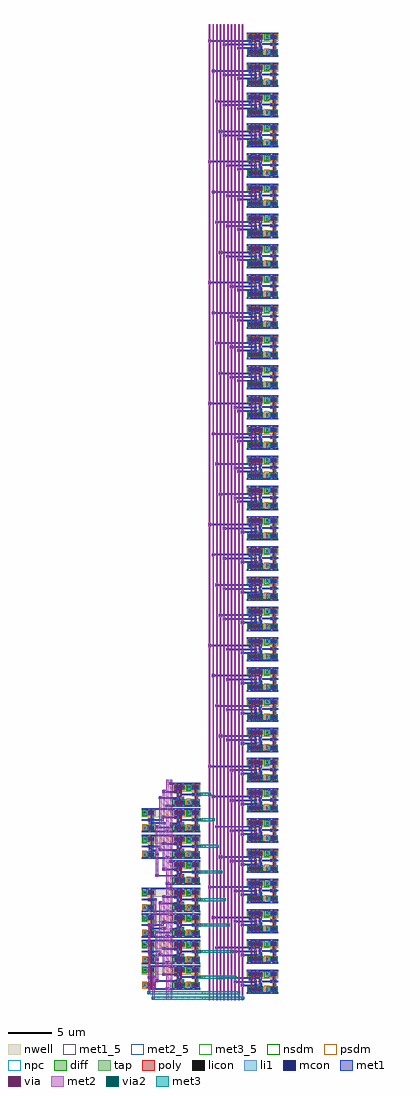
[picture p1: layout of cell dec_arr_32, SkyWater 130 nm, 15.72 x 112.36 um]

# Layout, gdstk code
import gdstk
lib = gdstk.Library(unit=1e-6, precision=5e-09)
def R(c, l, rs):  # rectangles x0, y0, x1, y1
    for r in rs: c.add(gdstk.rectangle(r[:2], r[2:], *l))
def A(c, l, x, y, w, h, nx, ny, dx, dy):  # array of equal rectangles
    R(c, l, [(x+i*dx, y+j*dy, x+i*dx+w, y+j*dy+h) for i in range(nx) for j in range(ny)])
nwell = (64, 20)
diff = (65, 20)
tap = (65, 44)
poly = (66, 20)
licon = (66, 44)
li1 = (67, 20)
mcon = (67, 44)
met1_5 = (68, 5)
met1 = (68, 20)
via = (68, 44)
met2_5 = (69, 5)
met2 = (69, 20)
via2 = (69, 44)
met3_5 = (70, 5)
met3 = (70, 20)
nsdm = (93, 44)
psdm = (94, 20)
npc = (95, 20)

nand3_f = lib.new_cell('nand3_f')
R(nand3_f, nwell, [(0,2.44,1.97,3.48)])
R(nand3_f, diff, [(0.18,1.005,1.79,1.425), (0.18,2.75,1.79,3.17)])
R(nand3_f, poly, [(0.47,0.875,0.62,2.265), (0.91,0.875,1.06,1.91), (1.35,0.875,1.5,1.535), (1.35,1.535,1.75,1.865), (1.35,1.865,1.5,3.3), (0.85,1.91,1.12,2.24), (0.91,2.24,1.06,3.3), (0.22,2.265,0.62,2.595), (0.47,2.595,0.62,3.3)])
A(nand3_f, licon, 0.24, 1.13, 0.17, 0.17, 4, 2, 0.44, 1.745)
R(nand3_f, licon, [(1.5,1.615,1.67,1.785), (0.9,1.99,1.07,2.16), (0.3,2.345,0.47,2.515)])
A(nand3_f, li1, 0.24, 0.985, 0.17, 0.46, 4, 2, 0.44, 1.745)
R(nand3_f, li1, [(0.82,1.615,1.75,1.785), (0.82,1.99,1.15,2.16), (0.22,2.345,0.55,2.515)])
A(nand3_f, mcon, 0.24, 1.13, 0.17, 0.17, 4, 2, 0.44, 1.745)
R(nand3_f, mcon, [(0.9,1.615,1.07,1.785), (0.9,1.99,1.07,2.16), (0.3,2.345,0.47,2.515)])
R(nand3_f, met1_5, [(0,0.69,0.17,0.86), (0,1.585,0.17,1.755), (0,1.99,0.17,2.16), (1.8,2.05,1.97,2.22), (0,2.44,0.17,2.61), (0,3.31,0.17,3.48)])
A(nand3_f, met1, 0.21, 1.005, 0.23, 0.42, 4, 2, 0.44, 1.745)
R(nand3_f, met1, [(0,0.69,1.97,0.86), (0.24,0.86,0.41,1.005), (1.56,1.425,1.73,2.05), (0,1.585,1.13,1.755), (0.84,1.755,1.13,1.815), (0.84,1.96,1.13,1.99), (0,1.99,1.13,2.16), (1.56,2.05,1.97,2.22), (0.84,2.16,1.13,2.19), (1.56,2.22,1.73,2.44), (0.24,2.315,0.53,2.44), (0,2.44,0.53,2.61), (0.68,2.44,1.73,2.61), (0.68,2.61,0.85,2.75), (1.56,2.61,1.73,2.75), (0.24,3.17,0.41,3.31), (1.12,3.17,1.29,3.31), (0,3.31,1.97,3.48)])
R(nand3_f, nsdm, [(0.055,0.88,1.915,1.55)])
R(nand3_f, psdm, [(0.055,2.625,1.915,3.295)])
R(nand3_f, npc, [(1.4,1.515,1.77,1.615), (1.15,1.615,1.77,1.885), (1.15,1.885,1.42,1.89), (0.8,1.89,1.42,2.115), (0.34,2.115,1.42,2.16), (0.34,2.16,1.17,2.245), (0.2,2.245,1.17,2.26), (0.2,2.26,1.03,2.39), (0.2,2.39,0.57,2.615)])
nand3_f.add(gdstk.Label('VDD', (0.085,3.395), layer=68, texttype=5))
nand3_f.add(gdstk.Label('VSS', (0.085,0.775), layer=68, texttype=5))
nand3_f.add(gdstk.Label('Y', (1.885,2.135), layer=68, texttype=5))
nand3_f.add(gdstk.Label('C', (0.085,1.67), layer=68, texttype=5))
nand3_f.add(gdstk.Label('B', (0.085,2.075), layer=68, texttype=5))
nand3_f.add(gdstk.Label('A', (0.085,2.525), layer=68, texttype=5))

not_f = lib.new_cell('not_f')
R(not_f, nwell, [(0,2.44,1.65,3.48)])
R(not_f, diff, [(0.74,1.005,1.47,1.425), (0.74,2.75,1.47,3.17)])
R(not_f, tap, [(0.18,0.945,0.47,1.485), (0.18,2.69,0.47,3.23)])
R(not_f, poly, [(1.03,0.875,1.18,1.97), (0.725,1.97,1.18,2.3), (1.03,2.3,1.18,3.3)])
R(not_f, licon, [(0.24,1.13,0.41,1.3), (0.8,1.13,0.97,1.3), (1.24,1.13,1.41,1.3), (0.805,2.05,0.975,2.22), (0.24,2.875,0.41,3.045), (0.8,2.875,0.97,3.045), (1.24,2.875,1.41,3.045)])
R(not_f, li1, [(0.24,0.985,0.97,1.445), (1.24,0.985,1.41,3.19), (0.725,2.05,1.055,2.22), (0.18,2.73,0.97,3.19)])
R(not_f, mcon, [(0.8,1.13,0.97,1.3), (1.24,1.13,1.41,1.3), (0.805,2.05,0.975,2.22), (1.24,2.05,1.41,2.22), (0.8,2.875,0.97,3.045), (1.24,2.875,1.41,3.045)])
R(not_f, met1_5, [(0,0.69,0.17,0.86), (0,2.05,0.17,2.22), (1.48,2.05,1.65,2.22), (0,3.31,0.17,3.48)])
R(not_f, met1, [(0,0.69,1.65,0.86), (0.8,0.86,0.97,1.005), (0.77,1.005,1,1.425), (1.21,1.005,1.44,1.425), (0.745,2.02,1.035,2.05), (1.18,2.02,1.47,2.05), (0,2.05,1.035,2.22), (1.18,2.05,1.65,2.22), (0.745,2.22,1.035,2.25), (1.18,2.22,1.47,2.25), (0.77,2.75,1,3.17), (1.21,2.75,1.44,3.17), (0.8,3.17,0.97,3.31), (0,3.31,1.65,3.48)])
R(not_f, nsdm, [(0.615,0.88,1.595,1.55), (0.055,2.565,0.595,3.355)])
R(not_f, psdm, [(0.055,0.82,0.595,1.61), (0.615,2.625,1.595,3.295)])
R(not_f, npc, [(0.705,1.95,1.075,2.32)])
not_f.add(gdstk.Label('B', (1.565,2.135), layer=68, texttype=5))
not_f.add(gdstk.Label('VDD', (0.085,3.395), layer=68, texttype=5))
not_f.add(gdstk.Label('A', (0.085,2.135), layer=68, texttype=5))
not_f.add(gdstk.Label('VSS', (0.085,0.775), layer=68, texttype=5))

dec_3to6_f = lib.new_cell('dec_3to6_f')
R(dec_3to6_f, nwell, [(0,2.915,6.725,3.955), (0,5.865,6.725,6.905), (0,8.915,6.725,9.955), (0,11.845,6.725,12.885)])
R(dec_3to6_f, diff, [(0.74,1.48,1.47,1.9), (3.725,1.48,4.895,1.9), (5.815,1.48,6.545,1.9), (0.74,3.225,1.47,3.645), (3.725,3.225,4.895,3.645), (5.815,3.225,6.545,3.645), (0.74,4.43,1.47,4.85), (3.725,4.43,4.895,4.85), (5.815,4.43,6.545,4.85), (0.74,6.175,1.47,6.595), (3.725,6.175,4.895,6.595), (5.815,6.175,6.545,6.595), (0.74,7.48,1.47,7.9), (3.725,7.48,4.895,7.9), (5.815,7.48,6.545,7.9), (0.74,9.225,1.47,9.645), (3.725,9.225,4.895,9.645), (5.815,9.225,6.545,9.645), (0.74,10.41,1.47,10.83), (3.725,10.41,4.895,10.83), (5.815,10.41,6.545,10.83), (0.74,12.155,1.47,12.575), (3.725,12.155,4.895,12.575), (5.815,12.155,6.545,12.575)])
R(dec_3to6_f, tap, [(0.18,1.42,0.47,1.96), (5.255,1.42,5.545,1.96), (0.18,3.165,0.47,3.705), (5.255,3.165,5.545,3.705), (0.18,4.37,0.47,4.91), (5.255,4.37,5.545,4.91), (0.18,6.115,0.47,6.655), (5.255,6.115,5.545,6.655), (0.18,7.42,0.47,7.96), (5.255,7.42,5.545,7.96), (0.18,9.165,0.47,9.705), (5.255,9.165,5.545,9.705), (0.18,10.35,0.47,10.89), (5.255,10.35,5.545,10.89), (0.18,12.095,0.47,12.635), (5.255,12.095,5.545,12.635)])
R(dec_3to6_f, poly, [(1.03,1.35,1.18,2.445), (4.015,1.35,4.165,2.735), (4.455,1.35,4.605,2.01), (6.105,1.35,6.255,2.445), (4.455,2.01,4.855,2.34), (4.455,2.34,4.605,3.775), (0.725,2.445,1.18,2.775), (5.8,2.445,6.255,2.775), (3.765,2.735,4.165,3.065), (1.03,2.775,1.18,3.775), (6.105,2.775,6.255,3.775), (4.015,3.065,4.165,3.775), (1.03,4.3,1.18,5.395), (4.015,4.3,4.165,5.685), (4.455,4.3,4.605,4.96), (6.105,4.3,6.255,5.395), (4.455,4.96,4.855,5.29), (4.455,5.29,4.605,6.725), (0.725,5.395,1.18,5.725), (5.8,5.395,6.255,5.725), (3.765,5.685,4.165,6.015), (1.03,5.725,1.18,6.725), (6.105,5.725,6.255,6.725), (4.015,6.015,4.165,6.725), (1.03,7.35,1.18,8.445), (4.015,7.35,4.165,8.735), (4.455,7.35,4.605,8.01), (6.105,7.35,6.255,8.445), (4.455,8.01,4.855,8.34), (4.455,8.34,4.605,9.775), (0.725,8.445,1.18,8.775), (5.8,8.445,6.255,8.775), (3.765,8.735,4.165,9.065), (1.03,8.775,1.18,9.775), (6.105,8.775,6.255,9.775), (4.015,9.065,4.165,9.775), (1.03,10.28,1.18,11.375), (4.015,10.28,4.165,11.665), (4.455,10.28,4.605,10.94), (6.105,10.28,6.255,11.375), (4.455,10.94,4.855,11.27), (4.455,11.27,4.605,12.705), (0.725,11.375,1.18,11.705), (5.8,11.375,6.255,11.705), (3.765,11.665,4.165,11.995), (1.03,11.705,1.18,12.705), (6.105,11.705,6.255,12.705), (4.015,11.995,4.165,12.705)])
A(dec_3to6_f, licon, 3.785, 1.605, 0.17, 0.17, 3, 2, 0.44, 1.745)
A(dec_3to6_f, licon, 3.785, 4.555, 0.17, 0.17, 3, 2, 0.44, 1.745)
A(dec_3to6_f, licon, 3.785, 7.605, 0.17, 0.17, 3, 2, 0.44, 1.745)
A(dec_3to6_f, licon, 3.785, 10.535, 0.17, 0.17, 3, 2, 0.44, 1.745)
R(dec_3to6_f, licon, [(0.24,1.605,0.41,1.775), (0.8,1.605,0.97,1.775), (1.24,1.605,1.41,1.775), (5.315,1.605,5.485,1.775), (5.875,1.605,6.045,1.775), (6.315,1.605,6.485,1.775), (4.605,2.09,4.775,2.26), (0.805,2.525,0.975,2.695), (5.88,2.525,6.05,2.695), (3.845,2.815,4.015,2.985), (0.24,3.35,0.41,3.52), (0.8,3.35,0.97,3.52), (1.24,3.35,1.41,3.52), (5.315,3.35,5.485,3.52), (5.875,3.35,6.045,3.52), (6.315,3.35,6.485,3.52), (0.24,4.555,0.41,4.725), (0.8,4.555,0.97,4.725), (1.24,4.555,1.41,4.725), (5.315,4.555,5.485,4.725), (5.875,4.555,6.045,4.725), (6.315,4.555,6.485,4.725), (4.605,5.04,4.775,5.21), (0.805,5.475,0.975,5.645), (5.88,5.475,6.05,5.645), (3.845,5.765,4.015,5.935), (0.24,6.3,0.41,6.47), (0.8,6.3,0.97,6.47), (1.24,6.3,1.41,6.47), (5.315,6.3,5.485,6.47), (5.875,6.3,6.045,6.47), (6.315,6.3,6.485,6.47), (0.24,7.605,0.41,7.775), (0.8,7.605,0.97,7.775), (1.24,7.605,1.41,7.775), (5.315,7.605,5.485,7.775), (5.875,7.605,6.045,7.775), (6.315,7.605,6.485,7.775), (4.605,8.09,4.775,8.26), (0.805,8.525,0.975,8.695), (5.88,8.525,6.05,8.695), (3.845,8.815,4.015,8.985), (0.24,9.35,0.41,9.52), (0.8,9.35,0.97,9.52), (1.24,9.35,1.41,9.52), (5.315,9.35,5.485,9.52), (5.875,9.35,6.045,9.52), (6.315,9.35,6.485,9.52), (0.24,10.535,0.41,10.705), (0.8,10.535,0.97,10.705), (1.24,10.535,1.41,10.705), (5.315,10.535,5.485,10.705), (5.875,10.535,6.045,10.705), (6.315,10.535,6.485,10.705), (4.605,11.02,4.775,11.19), (0.805,11.455,0.975,11.625), (5.88,11.455,6.05,11.625), (3.845,11.745,4.015,11.915), (0.24,12.28,0.41,12.45), (0.8,12.28,0.97,12.45), (1.24,12.28,1.41,12.45), (5.315,12.28,5.485,12.45), (5.875,12.28,6.045,12.45), (6.315,12.28,6.485,12.45)])
A(dec_3to6_f, li1, 3.785, 1.46, 0.17, 0.46, 3, 2, 0.44, 1.745)
A(dec_3to6_f, li1, 3.785, 4.41, 0.17, 0.46, 3, 2, 0.44, 1.745)
A(dec_3to6_f, li1, 3.785, 7.46, 0.17, 0.46, 3, 2, 0.44, 1.745)
A(dec_3to6_f, li1, 3.785, 10.39, 0.17, 0.46, 3, 2, 0.44, 1.745)
R(dec_3to6_f, li1, [(0.24,1.46,0.97,1.92), (1.24,1.46,1.41,3.665), (5.315,1.46,6.045,1.92), (6.315,1.46,6.485,3.665), (3.785,2.09,4.855,2.26), (0.725,2.525,1.055,2.695), (5.8,2.525,6.13,2.695), (3.765,2.815,4.095,2.985), (0.18,3.205,0.97,3.665), (5.255,3.205,6.045,3.665), (0.24,4.41,0.97,4.87), (1.24,4.41,1.41,6.615), (5.315,4.41,6.045,4.87), (6.315,4.41,6.485,6.615), (3.785,5.04,4.855,5.21), (0.725,5.475,1.055,5.645), (5.8,5.475,6.13,5.645), (3.765,5.765,4.095,5.935), (0.18,6.155,0.97,6.615), (5.255,6.155,6.045,6.615), (0.24,7.46,0.97,7.92), (1.24,7.46,1.41,9.665), (5.315,7.46,6.045,7.92), (6.315,7.46,6.485,9.665), (3.785,8.09,4.855,8.26), (0.725,8.525,1.055,8.695), (5.8,8.525,6.13,8.695), (3.765,8.815,4.095,8.985), (0.18,9.205,0.97,9.665), (5.255,9.205,6.045,9.665), (0.24,10.39,0.97,10.85), (1.24,10.39,1.41,12.595), (5.315,10.39,6.045,10.85), (6.315,10.39,6.485,12.595), (3.785,11.02,4.855,11.19), (0.725,11.455,1.055,11.625), (5.8,11.455,6.13,11.625), (3.765,11.745,4.095,11.915), (0.18,12.135,0.97,12.595), (5.255,12.135,6.045,12.595)])
A(dec_3to6_f, mcon, 3.785, 1.605, 0.17, 0.17, 3, 2, 0.44, 1.745)
A(dec_3to6_f, mcon, 3.785, 4.555, 0.17, 0.17, 3, 2, 0.44, 1.745)
A(dec_3to6_f, mcon, 3.785, 7.605, 0.17, 0.17, 3, 2, 0.44, 1.745)
A(dec_3to6_f, mcon, 3.785, 10.535, 0.17, 0.17, 3, 2, 0.44, 1.745)
R(dec_3to6_f, mcon, [(0.8,1.605,0.97,1.775), (1.24,1.605,1.41,1.775), (5.875,1.605,6.045,1.775), (6.315,1.605,6.485,1.775), (3.845,2.09,4.015,2.26), (0.805,2.525,0.975,2.695), (1.24,2.525,1.41,2.695), (5.88,2.525,6.05,2.695), (6.315,2.525,6.485,2.695), (3.845,2.815,4.015,2.985), (0.8,3.35,0.97,3.52), (1.24,3.35,1.41,3.52), (5.875,3.35,6.045,3.52), (6.315,3.35,6.485,3.52), (0.8,4.555,0.97,4.725), (1.24,4.555,1.41,4.725), (5.875,4.555,6.045,4.725), (6.315,4.555,6.485,4.725), (3.845,5.04,4.015,5.21), (0.805,5.475,0.975,5.645), (1.24,5.475,1.41,5.645), (5.88,5.475,6.05,5.645), (6.315,5.475,6.485,5.645), (3.845,5.765,4.015,5.935), (0.8,6.3,0.97,6.47), (1.24,6.3,1.41,6.47), (5.875,6.3,6.045,6.47), (6.315,6.3,6.485,6.47), (0.8,7.605,0.97,7.775), (1.24,7.605,1.41,7.775), (5.875,7.605,6.045,7.775), (6.315,7.605,6.485,7.775), (3.845,8.09,4.015,8.26), (0.805,8.525,0.975,8.695), (1.24,8.525,1.41,8.695), (5.88,8.525,6.05,8.695), (6.315,8.525,6.485,8.695), (3.845,8.815,4.015,8.985), (0.8,9.35,0.97,9.52), (1.24,9.35,1.41,9.52), (5.875,9.35,6.045,9.52), (6.315,9.35,6.485,9.52), (0.8,10.535,0.97,10.705), (1.24,10.535,1.41,10.705), (5.875,10.535,6.045,10.705), (6.315,10.535,6.485,10.705), (3.845,11.02,4.015,11.19), (0.805,11.455,0.975,11.625), (1.24,11.455,1.41,11.625), (5.88,11.455,6.05,11.625), (6.315,11.455,6.485,11.625), (3.845,11.745,4.015,11.915), (0.8,12.28,0.97,12.45), (1.24,12.28,1.41,12.45), (5.875,12.28,6.045,12.45), (6.315,12.28,6.485,12.45)])
R(dec_3to6_f, met1_5, [(0,5.475,0.17,5.645), (0,8.525,0.17,8.695), (0,11.455,0.17,11.625)])
A(dec_3to6_f, met1, 3.755, 1.48, 0.23, 0.42, 3, 2, 0.44, 1.745)
A(dec_3to6_f, met1, 3.755, 4.43, 0.23, 0.42, 3, 2, 0.44, 1.745)
A(dec_3to6_f, met1, 3.755, 7.48, 0.23, 0.42, 3, 2, 0.44, 1.745)
A(dec_3to6_f, met1, 3.755, 10.41, 0.23, 0.42, 3, 2, 0.44, 1.745)
R(dec_3to6_f, met1, [(0.8,1.165,6.725,1.335), (0.8,1.335,0.97,1.48), (2.785,1.335,3.145,1.425), (3.785,1.335,3.955,1.48), (4.665,1.335,4.835,1.48), (5.875,1.335,6.045,1.48), (0.77,1.48,1,1.9), (1.21,1.48,1.44,1.9), (5.845,1.48,6.075,1.9), (6.285,1.48,6.515,1.9), (4.225,1.9,4.395,2.525), (3.785,2.06,4.075,2.09), (1.58,2.09,4.075,2.26), (1.58,2.26,1.94,2.35), (3.785,2.26,4.075,2.29), (0.675,2.48,1.035,2.74), (6.495,2.48,6.855,2.495), (1.18,2.49,1.65,2.75), (5.82,2.495,6.11,2.525), (6.255,2.495,6.855,2.725), (4.225,2.525,6.11,2.695), (4.225,2.695,4.395,3.225), (5.82,2.695,6.11,2.725), (6.495,2.725,6.855,2.74), (3.785,2.785,4.075,2.815), (2.385,2.815,4.075,2.985), (2.385,2.985,2.745,3.075), (3.785,2.985,4.075,3.015), (0.77,3.225,1,3.645), (1.21,3.225,1.44,3.645), (5.845,3.225,6.075,3.645), (6.285,3.225,6.515,3.645), (0.8,3.645,0.97,3.785), (3.785,3.645,3.955,3.785), (4.665,3.645,4.835,3.785), (5.875,3.645,6.045,3.785), (3.185,3.695,3.545,3.785), (0.8,3.785,6.725,3.955), (0,4.115,6.725,4.285), (0.8,4.285,0.97,4.43), (2.785,4.285,3.145,4.425), (3.785,4.285,3.955,4.43), (4.665,4.285,4.835,4.43), (5.875,4.285,6.045,4.43), (0.77,4.43,1,4.85), (1.21,4.43,1.44,4.85), (5.845,4.43,6.075,4.85), (6.285,4.43,6.515,4.85), (1.585,4.525,1.945,4.785), (1.585,4.785,1.755,5), (4.225,4.85,4.395,5.475), (0.805,5,1.755,5.17), (3.785,5.01,4.075,5.04), (1.985,5.04,4.075,5.21), (0.805,5.17,0.975,5.445), (1.985,5.21,2.345,5.3), (3.785,5.21,4.075,5.24), (1.985,5.3,2.155,5.475), (6.495,5.43,6.855,5.445), (0.745,5.445,1.035,5.475), (1.18,5.445,1.47,5.475), (5.82,5.445,6.11,5.475), (6.255,5.445,6.855,5.675), (0,5.475,1.035,5.645), (1.18,5.475,2.155,5.645), (4.225,5.475,6.11,5.645), (0.745,5.645,1.035,5.675), (1.18,5.645,1.47,5.675), (4.225,5.645,4.395,6.175), (5.82,5.645,6.11,5.675), (6.495,5.675,6.855,5.69), (3.785,5.735,4.075,5.765), (2.385,5.765,4.075,5.935), (2.385,5.935,2.745,6.025), (3.785,5.935,4.075,5.965), (0.77,6.175,1,6.595), (1.21,6.175,1.44,6.595), (5.845,6.175,6.075,6.595), (6.285,6.175,6.515,6.595), (0.8,6.595,0.97,6.735), (3.785,6.595,3.955,6.735), (4.665,6.595,4.835,6.735), (5.875,6.595,6.045,6.735), (3.185,6.645,3.545,6.735), (0,6.735,6.725,6.905), (1.635,7.16,2.275,7.165), (0,7.165,6.725,7.335), (0.8,7.335,0.97,7.48), (2.785,7.335,3.145,7.475), (3.785,7.335,3.955,7.48), (4.665,7.335,4.835,7.48), (5.875,7.335,6.045,7.48), (0.77,7.48,1,7.9), (1.21,7.48,1.44,7.9), (5.845,7.48,6.075,7.9), (6.285,7.48,6.515,7.9), (1.585,7.665,3.405,7.835), (1.585,7.835,1.945,7.925), (3.235,7.835,3.405,8.09), (4.225,7.9,4.395,8.525), (3.785,8.06,4.075,8.09), (3.235,8.09,4.075,8.26), (2.385,8.095,2.745,8.14), (0.805,8.14,2.745,8.31), (3.785,8.26,4.075,8.29), (0.805,8.31,0.975,8.495), (2.385,8.31,2.745,8.355), (6.495,8.48,6.855,8.495), (0.745,8.495,1.035,8.525), (1.18,8.495,1.47,8.525), (5.82,8.495,6.11,8.525), (6.255,8.495,6.855,8.725), (0,8.525,1.035,8.695), (1.18,8.525,2.525,8.695), (4.225,8.525,6.11,8.695), (0.745,8.695,1.035,8.725), (1.18,8.695,1.47,8.725), (2.385,8.695,2.525,8.815), (4.225,8.695,4.395,9.225), (5.82,8.695,6.11,8.725), (6.495,8.725,6.855,8.74), (3.785,8.785,4.075,8.815), (2.385,8.815,4.075,8.985), (2.385,8.985,2.745,9.075), (3.785,8.985,4.075,9.015), (0.77,9.225,1,9.645), (1.21,9.225,1.44,9.645), (5.845,9.225,6.075,9.645), (6.285,9.225,6.515,9.645), (0.8,9.645,0.97,9.785), (3.785,9.645,3.955,9.785), (4.665,9.645,4.835,9.785), (5.875,9.645,6.045,9.785), (3.185,9.695,3.545,9.785), (0,9.785,6.725,9.955), (0,10.095,6.725,10.265), (0.8,10.265,0.97,10.41), (2.785,10.265,3.145,10.355), (3.785,10.265,3.955,10.41), (4.665,10.265,4.835,10.41), (5.875,10.265,6.045,10.41), (0.77,10.41,1,10.83), (1.21,10.41,1.44,10.83), (5.845,10.41,6.075,10.83), (6.285,10.41,6.515,10.83), (4.225,10.83,4.395,11.455), (3.785,10.99,4.075,11.02), (1.985,11.02,4.075,11.19), (1.985,11.19,2.345,11.28), (3.785,11.19,4.075,11.22), (1.36,11.41,1.72,11.425), (6.495,11.41,6.855,11.425), (0.745,11.425,1.035,11.455), (1.18,11.425,1.72,11.655), (5.82,11.425,6.11,11.455), (6.255,11.425,6.855,11.655), (0,11.455,1.035,11.625), (4.225,11.455,6.11,11.625), (0.745,11.625,1.035,11.655), (4.225,11.625,4.395,12.155), (5.82,11.625,6.11,11.655), (1.36,11.655,1.72,11.67), (6.495,11.655,6.855,11.67), (3.785,11.715,4.075,11.745), (2.385,11.745,4.075,11.915), (2.385,11.915,2.745,12.005), (3.785,11.915,4.075,11.945), (0.77,12.155,1,12.575), (1.21,12.155,1.44,12.575), (5.845,12.155,6.075,12.575), (6.285,12.155,6.515,12.575), (0.8,12.575,0.97,12.715), (3.785,12.575,3.955,12.715), (4.665,12.575,4.835,12.715), (5.875,12.575,6.045,12.715), (3.185,12.625,3.545,12.715), (0,12.715,6.725,12.885)])
R(dec_3to6_f, via, [(2.89,1.22,3.04,1.37), (1.685,2.145,1.835,2.295), (0.78,2.535,0.93,2.685), (6.6,2.535,6.75,2.685), (1.285,2.545,1.435,2.695), (2.49,2.87,2.64,3.02), (3.29,3.75,3.44,3.9), (2.89,4.22,3.04,4.37), (1.69,4.58,1.84,4.73), (2.09,5.095,2.24,5.245), (6.6,5.485,6.75,5.635), (2.49,5.82,2.64,5.97), (3.29,6.7,3.44,6.85), (2.89,7.27,3.04,7.42), (1.69,7.72,1.84,7.87), (2.49,8.15,2.64,8.3), (6.6,8.535,6.75,8.685), (2.49,8.87,2.64,9.02), (3.29,9.75,3.44,9.9), (2.89,10.15,3.04,10.3), (2.09,11.075,2.24,11.225), (1.465,11.465,1.615,11.615), (6.6,11.465,6.75,11.615), (2.49,11.8,2.64,11.95), (3.29,12.68,3.44,12.83)])
R(dec_3to6_f, met2_5, [(2.835,12.965,3.095,13.225), (3.235,12.965,3.495,13.225)])
R(dec_3to6_f, met2, [(1.215,0,1.505,0.375), (2.835,0,3.095,13.225), (3.235,0,3.495,13.225), (1.23,0.375,1.49,2.8), (0.71,0.635,1,1.01), (0.725,1.01,0.985,8.445), (1.63,2.04,1.895,2.4), (1.635,2.4,1.895,7.975), (6.535,2.42,6.815,2.8), (2.435,2.77,2.695,8.395), (2.035,5,2.295,11.33), (6.535,5.37,6.815,5.75), (6.535,8.42,6.815,8.8), (0.725,8.445,1.67,8.705), (1.41,8.705,1.67,11.72), (2.435,8.785,2.695,12.055), (6.535,11.35,6.815,11.73)])
R(dec_3to6_f, via2, [(1.26,0.09,1.46,0.29), (0.755,0.72,0.955,0.92), (6.575,2.51,6.775,2.71), (6.575,5.46,6.775,5.66), (6.575,8.51,6.775,8.71), (6.575,11.44,6.775,11.64)])
R(dec_3to6_f, met3_5, [(6.98,0.025,7.31,0.355), (6.98,0.655,7.31,0.985), (6.98,2.445,7.31,2.775), (6.98,5.395,7.31,5.725), (6.98,8.445,7.31,8.775), (6.98,11.375,7.31,11.705)])
R(dec_3to6_f, met3, [(1.165,0.025,7.31,0.355), (0.66,0.655,7.31,0.985), (6.485,2.445,7.31,2.775), (6.485,5.395,7.31,5.725), (6.485,8.445,7.31,8.775), (6.485,11.375,7.31,11.705)])
R(dec_3to6_f, nsdm, [(0.615,1.355,1.595,2.025), (3.6,1.355,5.02,2.025), (5.69,1.355,6.67,2.025), (0.055,3.04,0.595,3.83), (5.13,3.04,5.67,3.83), (0.615,4.305,1.595,4.975), (3.6,4.305,5.02,4.975), (5.69,4.305,6.67,4.975), (0.055,5.99,0.595,6.78), (5.13,5.99,5.67,6.78), (0.615,7.355,1.595,8.025), (3.6,7.355,5.02,8.025), (5.69,7.355,6.67,8.025), (0.055,9.04,0.595,9.83), (5.13,9.04,5.67,9.83), (0.615,10.285,1.595,10.955), (3.6,10.285,5.02,10.955), (5.69,10.285,6.67,10.955), (0.055,11.97,0.595,12.76), (5.13,11.97,5.67,12.76)])
R(dec_3to6_f, psdm, [(0.055,1.295,0.595,2.085), (5.13,1.295,5.67,2.085), (0.615,3.1,1.595,3.77), (3.6,3.1,5.02,3.77), (5.69,3.1,6.67,3.77), (0.055,4.245,0.595,5.035), (5.13,4.245,5.67,5.035), (0.615,6.05,1.595,6.72), (3.6,6.05,5.02,6.72), (5.69,6.05,6.67,6.72), (0.055,7.295,0.595,8.085), (5.13,7.295,5.67,8.085), (0.615,9.1,1.595,9.77), (3.6,9.1,5.02,9.77), (5.69,9.1,6.67,9.77), (0.055,10.225,0.595,11.015), (5.13,10.225,5.67,11.015), (0.615,12.03,1.595,12.7), (3.6,12.03,5.02,12.7), (5.69,12.03,6.67,12.7)])
R(dec_3to6_f, npc, [(4.505,1.99,4.875,2.36), (0.705,2.425,1.075,2.795), (5.78,2.425,6.15,2.795), (3.745,2.715,4.115,3.085), (4.505,4.94,4.875,5.31), (0.705,5.375,1.075,5.745), (5.78,5.375,6.15,5.745), (3.745,5.665,4.115,6.035), (4.505,7.99,4.875,8.36), (0.705,8.425,1.075,8.795), (5.78,8.425,6.15,8.795), (3.745,8.715,4.115,9.085), (4.505,10.92,4.875,11.29), (0.705,11.355,1.075,11.725), (5.78,11.355,6.15,11.725), (3.745,11.645,4.115,12.015)])
dec_3to6_f.add(gdstk.Label('VDD', (3.365,13.095), layer=69, texttype=5))
dec_3to6_f.add(gdstk.Label('VSS', (2.965,13.095), layer=69, texttype=5))
dec_3to6_f.add(gdstk.Label('A2', (0.085,11.54), layer=68, texttype=5))
dec_3to6_f.add(gdstk.Label('A1', (0.085,8.61), layer=68, texttype=5))
dec_3to6_f.add(gdstk.Label('A0', (0.085,5.56), layer=68, texttype=5))
dec_3to6_f.add(gdstk.Label('Y0', (7.145,11.54), layer=70, texttype=5))
dec_3to6_f.add(gdstk.Label('Y1', (7.145,8.61), layer=70, texttype=5))
dec_3to6_f.add(gdstk.Label('Y2', (7.145,5.56), layer=70, texttype=5))
dec_3to6_f.add(gdstk.Label('Y3', (7.145,2.61), layer=70, texttype=5))
dec_3to6_f.add(gdstk.Label('Y4', (7.145,0.82), layer=70, texttype=5))
dec_3to6_f.add(gdstk.Label('Y5', (7.145,0.19), layer=70, texttype=5))

dec_2to4_f = lib.new_cell('dec_2to4_f')
R(dec_2to4_f, nwell, [(3.545,1.8,6.725,2.84), (0,4.75,6.725,5.79), (0,7.8,6.725,8.84), (3.545,10.73,6.725,11.77)])
R(dec_2to4_f, diff, [(3.725,0.365,4.895,0.785), (5.815,0.365,6.545,0.785), (3.725,2.11,4.895,2.53), (5.815,2.11,6.545,2.53), (0.74,3.315,1.47,3.735), (3.725,3.315,4.895,3.735), (5.815,3.315,6.545,3.735), (0.74,5.06,1.47,5.48), (3.725,5.06,4.895,5.48), (5.815,5.06,6.545,5.48), (0.74,6.365,1.47,6.785), (3.725,6.365,4.895,6.785), (5.815,6.365,6.545,6.785), (0.74,8.11,1.47,8.53), (3.725,8.11,4.895,8.53), (5.815,8.11,6.545,8.53), (3.725,9.295,4.895,9.715), (5.815,9.295,6.545,9.715), (3.725,11.04,4.895,11.46), (5.815,11.04,6.545,11.46)])
R(dec_2to4_f, tap, [(5.255,0.305,5.545,0.845), (5.255,2.05,5.545,2.59), (0.18,3.255,0.47,3.795), (5.255,3.255,5.545,3.795), (0.18,5,0.47,5.54), (5.255,5,5.545,5.54), (0.18,6.305,0.47,6.845), (5.255,6.305,5.545,6.845), (0.18,8.05,0.47,8.59), (5.255,8.05,5.545,8.59), (5.255,9.235,5.545,9.775), (5.255,10.98,5.545,11.52)])
R(dec_2to4_f, poly, [(4.015,0.235,4.165,1.62), (4.455,0.235,4.605,0.895), (6.105,0.235,6.255,1.33), (4.455,0.895,4.855,1.225), (4.455,1.225,4.605,2.66), (5.8,1.33,6.255,1.66), (3.765,1.62,4.165,1.95), (6.105,1.66,6.255,2.66), (4.015,1.95,4.165,2.66), (1.03,3.185,1.18,4.28), (4.015,3.185,4.165,4.57), (4.455,3.185,4.605,3.845), (6.105,3.185,6.255,4.28), (4.455,3.845,4.855,4.175), (4.455,4.175,4.605,5.61), (0.725,4.28,1.18,4.61), (5.8,4.28,6.255,4.61), (3.765,4.57,4.165,4.9), (1.03,4.61,1.18,5.61), (6.105,4.61,6.255,5.61), (4.015,4.9,4.165,5.61), (1.03,6.235,1.18,7.33), (4.015,6.235,4.165,7.62), (4.455,6.235,4.605,6.895), (6.105,6.235,6.255,7.33), (4.455,6.895,4.855,7.225), (4.455,7.225,4.605,8.66), (0.725,7.33,1.18,7.66), (5.8,7.33,6.255,7.66), (3.765,7.62,4.165,7.95), (1.03,7.66,1.18,8.66), (6.105,7.66,6.255,8.66), (4.015,7.95,4.165,8.66), (4.015,9.165,4.165,10.55), (4.455,9.165,4.605,9.825), (6.105,9.165,6.255,10.26), (4.455,9.825,4.855,10.155), (4.455,10.155,4.605,11.59), (5.8,10.26,6.255,10.59), (3.765,10.55,4.165,10.88), (6.105,10.59,6.255,11.59), (4.015,10.88,4.165,11.59)])
A(dec_2to4_f, licon, 3.785, 0.49, 0.17, 0.17, 3, 2, 0.44, 1.745)
A(dec_2to4_f, licon, 3.785, 3.44, 0.17, 0.17, 3, 2, 0.44, 1.745)
A(dec_2to4_f, licon, 3.785, 6.49, 0.17, 0.17, 3, 2, 0.44, 1.745)
A(dec_2to4_f, licon, 3.785, 9.42, 0.17, 0.17, 3, 2, 0.44, 1.745)
R(dec_2to4_f, licon, [(5.315,0.49,5.485,0.66), (5.875,0.49,6.045,0.66), (6.315,0.49,6.485,0.66), (4.605,0.975,4.775,1.145), (5.88,1.41,6.05,1.58), (3.845,1.7,4.015,1.87), (5.315,2.235,5.485,2.405), (5.875,2.235,6.045,2.405), (6.315,2.235,6.485,2.405), (0.24,3.44,0.41,3.61), (0.8,3.44,0.97,3.61), (1.24,3.44,1.41,3.61), (5.315,3.44,5.485,3.61), (5.875,3.44,6.045,3.61), (6.315,3.44,6.485,3.61), (4.605,3.925,4.775,4.095), (0.805,4.36,0.975,4.53), (5.88,4.36,6.05,4.53), (3.845,4.65,4.015,4.82), (0.24,5.185,0.41,5.355), (0.8,5.185,0.97,5.355), (1.24,5.185,1.41,5.355), (5.315,5.185,5.485,5.355), (5.875,5.185,6.045,5.355), (6.315,5.185,6.485,5.355), (0.24,6.49,0.41,6.66), (0.8,6.49,0.97,6.66), (1.24,6.49,1.41,6.66), (5.315,6.49,5.485,6.66), (5.875,6.49,6.045,6.66), (6.315,6.49,6.485,6.66), (4.605,6.975,4.775,7.145), (0.805,7.41,0.975,7.58), (5.88,7.41,6.05,7.58), (3.845,7.7,4.015,7.87), (0.24,8.235,0.41,8.405), (0.8,8.235,0.97,8.405), (1.24,8.235,1.41,8.405), (5.315,8.235,5.485,8.405), (5.875,8.235,6.045,8.405), (6.315,8.235,6.485,8.405), (5.315,9.42,5.485,9.59), (5.875,9.42,6.045,9.59), (6.315,9.42,6.485,9.59), (4.605,9.905,4.775,10.075), (5.88,10.34,6.05,10.51), (3.845,10.63,4.015,10.8), (5.315,11.165,5.485,11.335), (5.875,11.165,6.045,11.335), (6.315,11.165,6.485,11.335)])
A(dec_2to4_f, li1, 3.785, 0.345, 0.17, 0.46, 3, 2, 0.44, 1.745)
A(dec_2to4_f, li1, 3.785, 3.295, 0.17, 0.46, 3, 2, 0.44, 1.745)
A(dec_2to4_f, li1, 3.785, 6.345, 0.17, 0.46, 3, 2, 0.44, 1.745)
A(dec_2to4_f, li1, 3.785, 9.275, 0.17, 0.46, 3, 2, 0.44, 1.745)
R(dec_2to4_f, li1, [(5.315,0.345,6.045,0.805), (6.315,0.345,6.485,2.55), (3.785,0.975,4.855,1.145), (5.8,1.41,6.13,1.58), (3.765,1.7,4.095,1.87), (5.255,2.09,6.045,2.55), (0.24,3.295,0.97,3.755), (1.24,3.295,1.41,5.5), (5.315,3.295,6.045,3.755), (6.315,3.295,6.485,5.5), (3.785,3.925,4.855,4.095), (0.725,4.36,1.055,4.53), (5.8,4.36,6.13,4.53), (3.765,4.65,4.095,4.82), (0.18,5.04,0.97,5.5), (5.255,5.04,6.045,5.5), (0.24,6.345,0.97,6.805), (1.24,6.345,1.41,8.55), (5.315,6.345,6.045,6.805), (6.315,6.345,6.485,8.55), (3.785,6.975,4.855,7.145), (0.725,7.41,1.055,7.58), (5.8,7.41,6.13,7.58), (3.765,7.7,4.095,7.87), (0.18,8.09,0.97,8.55), (5.255,8.09,6.045,8.55), (5.315,9.275,6.045,9.735), (6.315,9.275,6.485,11.48), (3.785,9.905,4.855,10.075), (5.8,10.34,6.13,10.51), (3.765,10.63,4.095,10.8), (5.255,11.02,6.045,11.48)])
A(dec_2to4_f, mcon, 3.785, 0.49, 0.17, 0.17, 3, 2, 0.44, 1.745)
A(dec_2to4_f, mcon, 3.785, 3.44, 0.17, 0.17, 3, 2, 0.44, 1.745)
A(dec_2to4_f, mcon, 3.785, 6.49, 0.17, 0.17, 3, 2, 0.44, 1.745)
A(dec_2to4_f, mcon, 3.785, 9.42, 0.17, 0.17, 3, 2, 0.44, 1.745)
R(dec_2to4_f, mcon, [(5.875,0.49,6.045,0.66), (6.315,0.49,6.485,0.66), (3.845,0.975,4.015,1.145), (5.88,1.41,6.05,1.58), (6.315,1.41,6.485,1.58), (3.845,1.7,4.015,1.87), (5.875,2.235,6.045,2.405), (6.315,2.235,6.485,2.405), (0.8,3.44,0.97,3.61), (1.24,3.44,1.41,3.61), (5.875,3.44,6.045,3.61), (6.315,3.44,6.485,3.61), (3.845,3.925,4.015,4.095), (0.805,4.36,0.975,4.53), (1.24,4.36,1.41,4.53), (5.88,4.36,6.05,4.53), (6.315,4.36,6.485,4.53), (3.845,4.65,4.015,4.82), (0.8,5.185,0.97,5.355), (1.24,5.185,1.41,5.355), (5.875,5.185,6.045,5.355), (6.315,5.185,6.485,5.355), (0.8,6.49,0.97,6.66), (1.24,6.49,1.41,6.66), (5.875,6.49,6.045,6.66), (6.315,6.49,6.485,6.66), (3.845,6.975,4.015,7.145), (0.805,7.41,0.975,7.58), (1.24,7.41,1.41,7.58), (5.88,7.41,6.05,7.58), (6.315,7.41,6.485,7.58), (3.845,7.7,4.015,7.87), (0.8,8.235,0.97,8.405), (1.24,8.235,1.41,8.405), (5.875,8.235,6.045,8.405), (6.315,8.235,6.485,8.405), (5.875,9.42,6.045,9.59), (6.315,9.42,6.485,9.59), (3.845,9.905,4.015,10.075), (5.88,10.34,6.05,10.51), (6.315,10.34,6.485,10.51), (3.845,10.63,4.015,10.8), (5.875,11.165,6.045,11.335), (6.315,11.165,6.485,11.335)])
R(dec_2to4_f, met1_5, [(0,4.36,0.17,4.53), (0,7.41,0.17,7.58)])
A(dec_2to4_f, met1, 3.755, 0.365, 0.23, 0.42, 3, 2, 0.44, 1.745)
A(dec_2to4_f, met1, 3.755, 3.315, 0.23, 0.42, 3, 2, 0.44, 1.745)
A(dec_2to4_f, met1, 3.755, 6.365, 0.23, 0.42, 3, 2, 0.44, 1.745)
A(dec_2to4_f, met1, 3.755, 9.295, 0.23, 0.42, 3, 2, 0.44, 1.745)
R(dec_2to4_f, met1, [(2.785,0.05,6.725,0.22), (2.785,0.22,3.145,0.31), (3.785,0.22,3.955,0.365), (4.665,0.22,4.835,0.365), (5.875,0.22,6.045,0.365), (5.845,0.365,6.075,0.785), (6.285,0.365,6.515,0.785), (4.225,0.785,4.395,1.41), (3.785,0.945,4.075,0.975), (1.58,0.975,4.075,1.145), (1.58,1.145,1.94,1.235), (3.785,1.145,4.075,1.175), (6.495,1.365,6.855,1.38), (5.82,1.38,6.11,1.41), (6.255,1.38,6.855,1.61), (4.225,1.41,6.11,1.58), (4.225,1.58,4.395,2.11), (5.82,1.58,6.11,1.61), (6.495,1.61,6.855,1.625), (3.785,1.67,4.075,1.7), (2.385,1.7,4.075,1.87), (2.385,1.87,2.745,1.96), (3.785,1.87,4.075,1.9), (5.845,2.11,6.075,2.53), (6.285,2.11,6.515,2.53), (3.785,2.53,3.955,2.67), (4.665,2.53,4.835,2.67), (5.875,2.53,6.045,2.67), (3.185,2.58,3.545,2.67), (3.185,2.67,6.725,2.84), (0,3,6.725,3.17), (0.8,3.17,0.97,3.315), (2.785,3.17,3.145,3.31), (3.785,3.17,3.955,3.315), (4.665,3.17,4.835,3.315), (5.875,3.17,6.045,3.315), (0.77,3.315,1,3.735), (1.21,3.315,1.44,3.735), (5.845,3.315,6.075,3.735), (6.285,3.315,6.515,3.735), (1.585,3.41,1.945,3.67), (1.585,3.67,1.755,3.885), (4.225,3.735,4.395,4.36), (0.805,3.885,1.755,4.055), (3.785,3.895,4.075,3.925), (1.985,3.925,4.075,4.095), (0.805,4.055,0.975,4.33), (1.985,4.095,2.345,4.185), (3.785,4.095,4.075,4.125), (1.985,4.185,2.155,4.36), (6.495,4.315,6.855,4.33), (0.745,4.33,1.035,4.36), (1.18,4.33,1.47,4.36), (5.82,4.33,6.11,4.36), (6.255,4.33,6.855,4.56), (0,4.36,1.035,4.53), (1.18,4.36,2.155,4.53), (4.225,4.36,6.11,4.53), (0.745,4.53,1.035,4.56), (1.18,4.53,1.47,4.56), (4.225,4.53,4.395,5.06), (5.82,4.53,6.11,4.56), (6.495,4.56,6.855,4.575), (3.785,4.62,4.075,4.65), (2.385,4.65,4.075,4.82), (2.385,4.82,2.745,4.91), (3.785,4.82,4.075,4.85), (0.77,5.06,1,5.48), (1.21,5.06,1.44,5.48), (5.845,5.06,6.075,5.48), (6.285,5.06,6.515,5.48), (0.8,5.48,0.97,5.62), (3.785,5.48,3.955,5.62), (4.665,5.48,4.835,5.62), (5.875,5.48,6.045,5.62), (3.185,5.53,3.545,5.62), (0,5.62,6.725,5.79), (1.635,6.045,2.275,6.05), (0,6.05,6.725,6.22), (0.8,6.22,0.97,6.365), (2.785,6.22,3.145,6.36), (3.785,6.22,3.955,6.365), (4.665,6.22,4.835,6.365), (5.875,6.22,6.045,6.365), (0.77,6.365,1,6.785), (1.21,6.365,1.44,6.785), (5.845,6.365,6.075,6.785), (6.285,6.365,6.515,6.785), (1.585,6.55,3.405,6.72), (1.585,6.72,1.945,6.81), (3.235,6.72,3.405,6.975), (4.225,6.785,4.395,7.41), (3.785,6.945,4.075,6.975), (3.235,6.975,4.075,7.145), (2.385,6.98,2.745,7.025), (0.805,7.025,2.745,7.195), (3.785,7.145,4.075,7.175), (0.805,7.195,0.975,7.38), (2.385,7.195,2.745,7.24), (6.495,7.365,6.855,7.38), (0.745,7.38,1.035,7.41), (1.18,7.38,1.47,7.41), (5.82,7.38,6.11,7.41), (6.255,7.38,6.855,7.61), (0,7.41,1.035,7.58), (1.18,7.41,2.525,7.58), (4.225,7.41,6.11,7.58), (0.745,7.58,1.035,7.61), (1.18,7.58,1.47,7.61), (2.385,7.58,2.525,7.7), (4.225,7.58,4.395,8.11), (5.82,7.58,6.11,7.61), (6.495,7.61,6.855,7.625), (3.785,7.67,4.075,7.7), (2.385,7.7,4.075,7.87), (2.385,7.87,2.745,7.96), (3.785,7.87,4.075,7.9), (0.77,8.11,1,8.53), (1.21,8.11,1.44,8.53), (5.845,8.11,6.075,8.53), (6.285,8.11,6.515,8.53), (0.8,8.53,0.97,8.67), (3.785,8.53,3.955,8.67), (4.665,8.53,4.835,8.67), (5.875,8.53,6.045,8.67), (3.185,8.58,3.545,8.67), (0,8.67,6.725,8.84), (2.785,8.98,6.725,9.15), (2.785,9.15,3.145,9.24), (3.785,9.15,3.955,9.295), (4.665,9.15,4.835,9.295), (5.875,9.15,6.045,9.295), (5.845,9.295,6.075,9.715), (6.285,9.295,6.515,9.715), (4.225,9.715,4.395,10.34), (3.785,9.875,4.075,9.905), (1.985,9.905,4.075,10.075), (1.985,10.075,2.345,10.165), (3.785,10.075,4.075,10.105), (6.495,10.295,6.855,10.31), (5.82,10.31,6.11,10.34), (6.255,10.31,6.855,10.54), (4.225,10.34,6.11,10.51), (4.225,10.51,4.395,11.04), (5.82,10.51,6.11,10.54), (6.495,10.54,6.855,10.555), (3.785,10.6,4.075,10.63), (2.385,10.63,4.075,10.8), (2.385,10.8,2.745,10.89), (3.785,10.8,4.075,10.83), (5.845,11.04,6.075,11.46), (6.285,11.04,6.515,11.46), (3.785,11.46,3.955,11.6), (4.665,11.46,4.835,11.6), (5.875,11.46,6.045,11.6), (3.185,11.51,3.545,11.6), (3.185,11.6,6.725,11.77)])
R(dec_2to4_f, via, [(2.89,0.105,3.04,0.255), (1.685,1.03,1.835,1.18), (6.6,1.42,6.75,1.57), (2.49,1.755,2.64,1.905), (3.29,2.635,3.44,2.785), (2.89,3.105,3.04,3.255), (1.69,3.465,1.84,3.615), (2.09,3.98,2.24,4.13), (6.6,4.37,6.75,4.52), (2.49,4.705,2.64,4.855), (3.29,5.585,3.44,5.735), (2.89,6.155,3.04,6.305), (1.69,6.605,1.84,6.755), (2.49,7.035,2.64,7.185), (6.6,7.42,6.75,7.57), (2.49,7.755,2.64,7.905), (3.29,8.635,3.44,8.785), (2.89,9.035,3.04,9.185), (2.09,9.96,2.24,10.11), (6.6,10.35,6.75,10.5), (2.49,10.685,2.64,10.835), (3.29,11.565,3.44,11.715)])
R(dec_2to4_f, met2_5, [(2.835,11.85,3.095,12.11), (3.235,11.85,3.495,12.11)])
R(dec_2to4_f, met2, [(2.835,0,3.095,12.11), (3.235,0,3.495,12.11), (1.63,0.925,1.895,1.285), (1.635,1.285,1.895,6.86), (6.535,1.305,6.815,1.685), (2.435,1.655,2.695,7.28), (2.035,3.885,2.295,10.215), (6.535,4.255,6.815,4.635), (6.535,7.305,6.815,7.685), (2.435,7.67,2.695,10.94), (6.535,10.235,6.815,10.615)])
R(dec_2to4_f, via2, [(6.575,1.395,6.775,1.595), (6.575,4.345,6.775,4.545), (6.575,7.395,6.775,7.595), (6.575,10.325,6.775,10.525)])
R(dec_2to4_f, met3_5, [(6.98,1.33,7.31,1.66), (6.98,4.28,7.31,4.61), (6.98,7.33,7.31,7.66), (6.98,10.26,7.31,10.59)])
R(dec_2to4_f, met3, [(6.485,1.33,7.31,1.66), (6.485,4.28,7.31,4.61), (6.485,7.33,7.31,7.66), (6.485,10.26,7.31,10.59)])
R(dec_2to4_f, nsdm, [(3.6,0.24,5.02,0.91), (5.69,0.24,6.67,0.91), (5.13,1.925,5.67,2.715), (0.615,3.19,1.595,3.86), (3.6,3.19,5.02,3.86), (5.69,3.19,6.67,3.86), (0.055,4.875,0.595,5.665), (5.13,4.875,5.67,5.665), (0.615,6.24,1.595,6.91), (3.6,6.24,5.02,6.91), (5.69,6.24,6.67,6.91), (0.055,7.925,0.595,8.715), (5.13,7.925,5.67,8.715), (3.6,9.17,5.02,9.84), (5.69,9.17,6.67,9.84), (5.13,10.855,5.67,11.645)])
R(dec_2to4_f, psdm, [(5.13,0.18,5.67,0.97), (3.6,1.985,5.02,2.655), (5.69,1.985,6.67,2.655), (0.055,3.13,0.595,3.92), (5.13,3.13,5.67,3.92), (0.615,4.935,1.595,5.605), (3.6,4.935,5.02,5.605), (5.69,4.935,6.67,5.605), (0.055,6.18,0.595,6.97), (5.13,6.18,5.67,6.97), (0.615,7.985,1.595,8.655), (3.6,7.985,5.02,8.655), (5.69,7.985,6.67,8.655), (5.13,9.11,5.67,9.9), (3.6,10.915,5.02,11.585), (5.69,10.915,6.67,11.585)])
R(dec_2to4_f, npc, [(4.505,0.875,4.875,1.245), (5.78,1.31,6.15,1.68), (3.745,1.6,4.115,1.97), (4.505,3.825,4.875,4.195), (0.705,4.26,1.075,4.63), (5.78,4.26,6.15,4.63), (3.745,4.55,4.115,4.92), (4.505,6.875,4.875,7.245), (0.705,7.31,1.075,7.68), (5.78,7.31,6.15,7.68), (3.745,7.6,4.115,7.97), (4.505,9.805,4.875,10.175), (5.78,10.24,6.15,10.61), (3.745,10.53,4.115,10.9)])
dec_2to4_f.add(gdstk.Label('Y0', (7.145,10.425), layer=70, texttype=5))
dec_2to4_f.add(gdstk.Label('Y1', (7.145,7.495), layer=70, texttype=5))
dec_2to4_f.add(gdstk.Label('Y2', (7.145,4.445), layer=70, texttype=5))
dec_2to4_f.add(gdstk.Label('Y3', (7.145,1.495), layer=70, texttype=5))
dec_2to4_f.add(gdstk.Label('VSS', (2.965,11.98), layer=69, texttype=5))
dec_2to4_f.add(gdstk.Label('VDD', (3.365,11.98), layer=69, texttype=5))
dec_2to4_f.add(gdstk.Label('A1', (0.085,7.495), layer=68, texttype=5))
dec_2to4_f.add(gdstk.Label('A0', (0.085,4.445), layer=68, texttype=5))

dec_arr_32 = lib.new_cell('dec_arr_32')
A(dec_arr_32, met1, -0.685, 1.54, 0.36, 0.26, 1, 16, 0, 3.48)
A(dec_arr_32, met1, -0.505, 1.585, 0.59, 0.17, 1, 16, 0, 3.48)
A(dec_arr_32, met1, -1.525, 1.945, 0.36, 0.26, 1, 4, 0, 3.48)
A(dec_arr_32, met1, -1.345, 1.99, 1.43, 0.17, 1, 4, 0, 3.48)
A(dec_arr_32, met1, -3.205, 2.395, 0.36, 0.26, 1, 8, 0, 13.92)
A(dec_arr_32, met1, -3.025, 2.44, 3.11, 0.17, 1, 8, 0, 13.92)
A(dec_arr_32, met1, -3.625, 5.875, 0.36, 0.26, 1, 8, 0, 13.92)
A(dec_arr_32, met1, -3.445, 5.92, 3.53, 0.17, 1, 8, 0, 13.92)
A(dec_arr_32, met1, -4.045, 9.355, 0.36, 0.26, 1, 8, 0, 13.92)
A(dec_arr_32, met1, -3.865, 9.4, 3.95, 0.17, 1, 8, 0, 13.92)
A(dec_arr_32, met1, -4.465, 12.835, 0.36, 0.26, 1, 8, 0, 13.92)
A(dec_arr_32, met1, -4.285, 12.88, 4.37, 0.17, 1, 8, 0, 13.92)
A(dec_arr_32, met1, -1.945, 15.865, 0.36, 0.26, 1, 4, 0, 3.48)
A(dec_arr_32, met1, -1.765, 15.91, 1.85, 0.17, 1, 4, 0, 3.48)
A(dec_arr_32, met1, -2.365, 29.785, 0.36, 0.26, 1, 4, 0, 3.48)
A(dec_arr_32, met1, -2.185, 29.83, 2.27, 0.17, 1, 4, 0, 3.48)
A(dec_arr_32, met1, -2.785, 43.705, 0.36, 0.26, 1, 4, 0, 3.48)
A(dec_arr_32, met1, -2.605, 43.75, 2.69, 0.17, 1, 4, 0, 3.48)
A(dec_arr_32, met1, -1.105, 57.22, 0.36, 0.26, 1, 16, 0, 3.48)
A(dec_arr_32, met1, -0.925, 57.265, 1.01, 0.17, 1, 16, 0, 3.48)
A(dec_arr_32, met1, -1.525, 57.625, 0.36, 0.26, 1, 4, 0, 3.48)
A(dec_arr_32, met1, -1.345, 57.67, 1.43, 0.17, 1, 4, 0, 3.48)
A(dec_arr_32, met1, -1.945, 71.545, 0.36, 0.26, 1, 4, 0, 3.48)
A(dec_arr_32, met1, -1.765, 71.59, 1.85, 0.17, 1, 4, 0, 3.48)
A(dec_arr_32, met1, -2.365, 85.465, 0.36, 0.26, 1, 4, 0, 3.48)
A(dec_arr_32, met1, -2.185, 85.51, 2.27, 0.17, 1, 4, 0, 3.48)
A(dec_arr_32, met1, -2.785, 99.385, 0.36, 0.26, 1, 4, 0, 3.48)
A(dec_arr_32, met1, -2.605, 99.43, 2.69, 0.17, 1, 4, 0, 3.48)
A(dec_arr_32, via, -0.58, 1.595, 0.15, 0.15, 1, 16, 0, 3.48)
A(dec_arr_32, via, -1.42, 2, 0.15, 0.15, 1, 4, 0, 3.48)
A(dec_arr_32, via, -3.1, 2.45, 0.15, 0.15, 1, 8, 0, 13.92)
A(dec_arr_32, via, -3.52, 5.93, 0.15, 0.15, 1, 8, 0, 13.92)
A(dec_arr_32, via, -3.94, 9.41, 0.15, 0.15, 1, 8, 0, 13.92)
A(dec_arr_32, via, -4.36, 12.89, 0.15, 0.15, 1, 8, 0, 13.92)
A(dec_arr_32, via, -1.84, 15.92, 0.15, 0.15, 1, 4, 0, 3.48)
A(dec_arr_32, via, -2.26, 29.84, 0.15, 0.15, 1, 4, 0, 3.48)
A(dec_arr_32, via, -2.68, 43.76, 0.15, 0.15, 1, 4, 0, 3.48)
A(dec_arr_32, via, -1, 57.275, 0.15, 0.15, 1, 16, 0, 3.48)
A(dec_arr_32, via, -1.42, 57.68, 0.15, 0.15, 1, 4, 0, 3.48)
A(dec_arr_32, via, -1.84, 71.6, 0.15, 0.15, 1, 4, 0, 3.48)
A(dec_arr_32, via, -2.26, 85.52, 0.15, 0.15, 1, 4, 0, 3.48)
A(dec_arr_32, via, -2.68, 99.44, 0.15, 0.15, 1, 4, 0, 3.48)
A(dec_arr_32, met2, -4.37, -0.02, 0.17, 112.36, 10, 1, 0.42, 0)
A(dec_arr_32, met2, -0.645, 1.48, 0.28, 0.38, 1, 16, 0, 3.48)
A(dec_arr_32, met2, -1.485, 5.365, 0.28, 0.38, 1, 3, 0, 3.48)
A(dec_arr_32, met2, -1.905, 15.805, 0.28, 0.38, 1, 4, 0, 3.48)
A(dec_arr_32, met2, -3.165, 16.255, 0.28, 0.38, 1, 7, 0, 13.92)
A(dec_arr_32, met2, -3.585, 19.735, 0.28, 0.38, 1, 7, 0, 13.92)
A(dec_arr_32, met2, -4.005, 23.215, 0.28, 0.38, 1, 7, 0, 13.92)
A(dec_arr_32, met2, -4.425, 26.695, 0.28, 0.38, 1, 7, 0, 13.92)
A(dec_arr_32, met2, -2.325, 29.725, 0.28, 0.38, 1, 4, 0, 3.48)
A(dec_arr_32, met2, -2.745, 43.645, 0.28, 0.38, 1, 4, 0, 3.48)
A(dec_arr_32, met2, -1.065, 57.16, 0.28, 0.38, 1, 16, 0, 3.48)
A(dec_arr_32, met2, -1.485, 57.565, 0.28, 0.38, 1, 4, 0, 3.48)
A(dec_arr_32, met2, -1.905, 71.485, 0.28, 0.38, 1, 4, 0, 3.48)
A(dec_arr_32, met2, -2.325, 85.405, 0.28, 0.38, 1, 4, 0, 3.48)
A(dec_arr_32, met2, -2.745, 99.325, 0.28, 0.38, 1, 4, 0, 3.48)
R(dec_arr_32, met2, [(-0.645,0,-0.365,0.38), (-1.065,0.63,-0.785,1.01), (-1.485,1.885,-1.205,2.265), (-3.165,2.335,-2.885,2.715), (-1.485,2.42,-1.205,2.8), (-1.905,5.37,-1.625,5.75), (-3.585,5.815,-3.305,6.195), (-2.325,8.42,-2.045,8.8), (-4.005,9.295,-3.725,9.675), (-2.745,11.35,-2.465,11.73), (-4.425,12.775,-4.145,13.155), (-3.165,14.53,-2.885,14.91), (-3.585,17.48,-3.305,17.86), (-4.005,20.53,-3.725,20.91), (-4.425,23.46,-4.145,23.84)])
R(dec_arr_32, via2, [(-0.605,0.09,-0.405,0.29), (-1.025,0.72,-0.825,0.92), (-1.445,2.51,-1.245,2.71), (-1.865,5.46,-1.665,5.66), (-2.285,8.51,-2.085,8.71), (-2.705,11.44,-2.505,11.64), (-3.125,14.62,-2.925,14.82), (-3.545,17.57,-3.345,17.77), (-3.965,20.62,-3.765,20.82), (-4.385,23.55,-4.185,23.75)])
R(dec_arr_32, met3, [(-4.955,0.025,-0.505,0.355), (-0.695,0.025,-0.315,0.355), (-4.955,0.655,-0.925,0.985), (-1.115,0.655,-0.735,0.985), (-4.955,2.445,-1.345,2.775), (-1.535,2.445,-1.155,2.775), (-4.955,5.395,-1.765,5.725), (-1.955,5.395,-1.575,5.725), (-4.955,8.445,-2.185,8.775), (-2.375,8.445,-1.995,8.775), (-4.955,11.375,-2.605,11.705), (-2.795,11.375,-2.415,11.705), (-4.955,14.555,-3.025,14.885), (-3.215,14.555,-2.835,14.885), (-4.955,17.505,-3.445,17.835), (-3.635,17.505,-3.255,17.835), (-4.955,20.555,-3.865,20.885), (-4.055,20.555,-3.675,20.885), (-4.955,23.485,-4.285,23.815), (-4.475,23.485,-4.095,23.815)])
r = gdstk.Reference(nand3_f, (0,0)); r.repetition = gdstk.Repetition(1, 32, v1=(1.97,0), v2=(0,3.48)); dec_arr_32.add(r)
r = gdstk.Reference(not_f, (1.97,0)); r.repetition = gdstk.Repetition(1, 32, v1=(1.65,0), v2=(0,3.48)); dec_arr_32.add(r)
dec_arr_32.add(gdstk.Reference(dec_3to6_f, (-12.1,0)))
r = gdstk.Reference(dec_2to4_f, (-12.1,13.225)); r.repetition = gdstk.Repetition(1, 1, v1=(7.31,0), v2=(0,12.11)); dec_arr_32.add(r)

lib.write_gds('dec_arr_32.gds')
